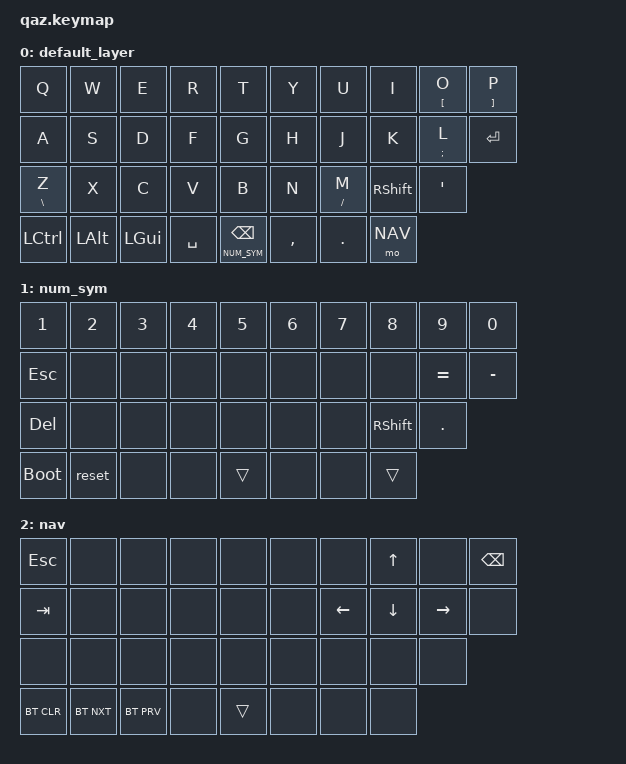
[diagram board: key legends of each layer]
/*
 * Copyright (c) 2020 The ZMK Contributors
 *
 * SPDX-License-Identifier: MIT
 */

#include <behaviors.dtsi>
#include <dt-bindings/zmk/keys.h>
#include <dt-bindings/zmk/bt.h>

#define DEFAULT 0
#define NUM_SYM 1
#define NAV     2

/ {
    behaviors {
        hm: homerow_mods {
            compatible = "zmk,behavior-hold-tap";
            label = "homerow mods";
            #binding-cells = <2>;
            tapping-term-ms = <225>;
            flavor = "tap-preferred";
            bindings = <&kp>, <&kp>;
        };
    };
};

/ {
    keymap {
        compatible = "zmk,keymap";

        default_layer {
            bindings = <
    &kp Q      &kp W      &kp E     &kp R      &kp T             &kp Y      &kp U        &kp I      &hm LBKT O  &hm RBKT P
    &kp A      &kp S      &kp D     &kp F      &kp G             &kp H      &kp J        &kp K      &hm SEMI L  &kp RETURN
    &hm BSLH Z &kp X      &kp C     &kp V      &kp B             &kp N      &hm SLASH M  &kp RSHFT  &kp APOS
    &kp LCTRL  &kp LALT   &kp LGUI  &kp SPACE  &lt NUM_SYM BSPC  &kp COMMA  &kp DOT      &mo NAV
            >;
        };
        num_sym {
            bindings = <
    &kp N1       &kp N2  &kp N3  &kp N4  &kp N5  &kp N6  &kp N7  &kp N8    &kp N9     &kp N0
    &kp ESC      &none   &none   &none   &none   &none   &none   &none     &kp EQUAL  &kp MINUS
    &kp DEL      &none   &none   &none   &none   &none   &none   &kp RSHFT &kp DOT
    &bootloader  &reset  &none   &none   &trans  &none   &none   &trans
            >;
        };

    nav {
            bindings = <
    &kp ESC     &none       &none       &none  &none   &none  &none     &kp UP    &none      &kp BSPC
    &kp TAB     &none       &none       &none  &none   &none  &kp LEFT  &kp DOWN  &kp RIGHT  &none
    &none       &none       &none       &none  &none   &none  &none     &none     &none
    &bt BT_CLR  &bt BT_NXT  &bt BT_PRV  &none  &trans  &none  &none     &none
            >;
        };
    };
};
